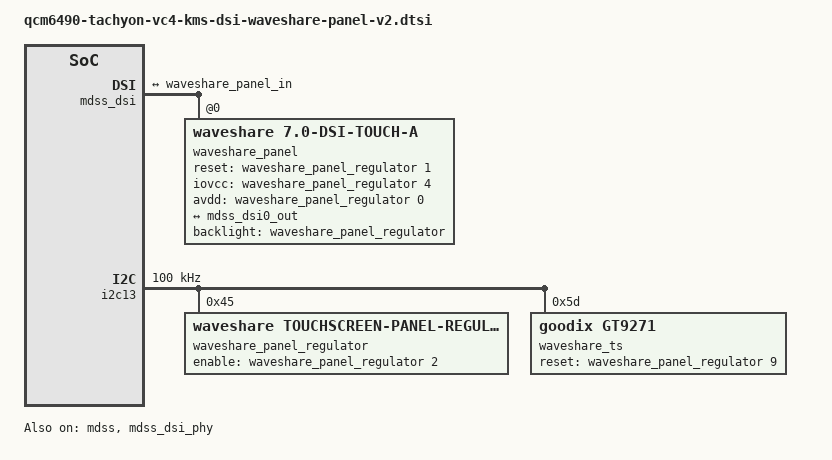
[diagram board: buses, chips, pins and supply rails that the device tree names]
// SPDX-License-Identifier: BSD-3-Clause
/*
 * Copyright (c) 2025 Particle Industries, Inc. All rights reserved.
 */

#include <dt-bindings/gpio/gpio.h>

&mdss {
	status = "okay";
};

&mdss_dsi_phy {
	vdds-supply = <&vreg_l10c_0p88>;
	status = "okay";
};

&mdss_dsi {
	vdda-supply = <&vreg_l6b_1p2>;
	status = "okay";

	#address-cells = <1>;
	#size-cells = <0>;

	ports {
		#address-cells = <1>;
		#size-cells = <0>;

		port@1 {
			reg = <1>;
			mdss_dsi0_out: endpoint {
				remote-endpoint = <&waveshare_panel_in>;
			};
		};
	};

	waveshare_panel: panel@0 {
		reg = <0>;
		compatible = "waveshare,7.0-dsi-touch-a";
		reset-gpio = <&waveshare_panel_regulator 1 GPIO_ACTIVE_HIGH>;
		iovcc-gpio = <&waveshare_panel_regulator 4 GPIO_ACTIVE_HIGH>;
		avdd-gpio = <&waveshare_panel_regulator 0 GPIO_ACTIVE_HIGH>;
		backlight = <&waveshare_panel_regulator>;

		port {
			waveshare_panel_in: endpoint {
				remote-endpoint = <&mdss_dsi0_out>;
			};
		};
	};
};

&i2c13 {
	status = "okay";
    qcom,load-firmware;

    clock-frequency = <100000>;

	#address-cells = <1>;
	#size-cells = <0>;

	waveshare_panel_regulator: regulator@45 {
		compatible = "waveshare,touchscreen-panel-regulator";
		reg = <0x45>;
		gpio-controller;
		#gpio-cells = <2>;
		enable-gpio = <&waveshare_panel_regulator 2 GPIO_ACTIVE_HIGH>;
	};

	waveshare_ts: gt911@5d {
		compatible = "goodix,gt9271";
		reg = <0x5d>;
		reset-gpio = <&waveshare_panel_regulator 9 GPIO_ACTIVE_HIGH>;
	};

};
